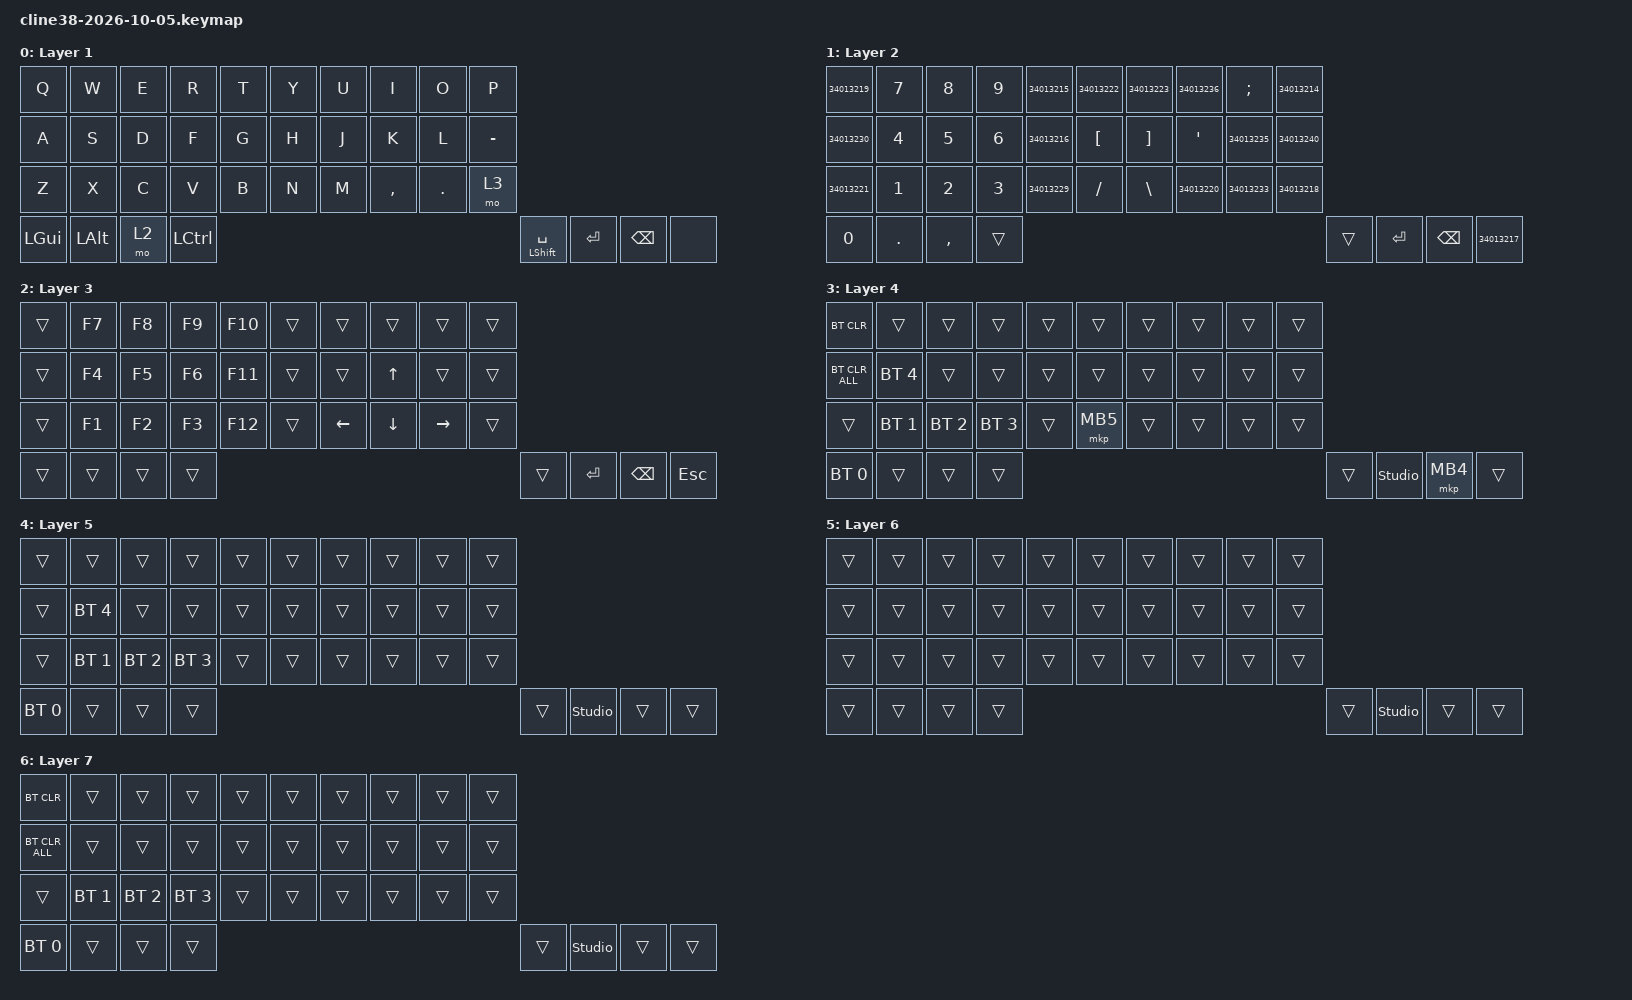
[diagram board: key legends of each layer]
/*
 * Generated by Keyboard Abyss - CLine38 — 2026-10-05 v4
 * https://abyss.keyboard-hub.com/keymap/01M44XJD8V8DJD8X85Y0EG8ZT6
 */

/ {
    keymap {
        compatible = "zmk,keymap";

        layer_1_layer {
            display-name = "Layer 1";
            bindings = <
                &kp Q    &kp W    &kp E    &kp R    &kp T    &kp Y    &kp U    &kp I    &kp O    &kp P
                &kp A    &kp S    &kp D    &kp F    &kp G    &kp H    &kp J    &kp K    &kp L    &kp MINUS
                &kp Z    &kp X    &kp C    &kp V    &kp B    &kp N    &kp M    &kp COMMA    &kp PERIOD    &mo 3
                &kp LEFT_GUI    &kp LEFT_ALT    &mo 2    &kp LEFT_CONTROL    &mt LEFT_SHIFT SPACE    &kp RETURN    &kp BACKSPACE    &none
            >;
        };

        layer_2_layer {
            display-name = "Layer 2";
            bindings = <
                &kp 34013219    &kp N7    &kp N8    &kp N9    &kp 34013215    &kp 34013222    &kp 34013223    &kp 34013236    &kp SEMICOLON    &kp 34013214
                &kp 34013230    &kp N4    &kp N5    &kp N6    &kp 34013216    &kp LEFT_BRACKET    &kp RIGHT_BRACKET    &kp SQT    &kp 34013235    &kp 34013240
                &kp 34013221    &kp N1    &kp N2    &kp N3    &kp 34013229    &kp SLASH    &kp BACKSLASH    &kp 34013220    &kp 34013233    &kp 34013218
                &kp N0    &kp PERIOD    &kp COMMA    &trans    &trans    &kp RETURN    &kp BACKSPACE    &kp 34013217
            >;
        };

        layer_3_layer {
            display-name = "Layer 3";
            bindings = <
                &trans    &kp F7    &kp F8    &kp F9    &kp F10    &trans    &trans    &trans    &trans    &trans
                &trans    &kp F4    &kp F5    &kp F6    &kp F11    &trans    &trans    &kp UP    &trans    &trans
                &trans    &kp F1    &kp F2    &kp F3    &kp F12    &trans    &kp LEFT    &kp DOWN    &kp RIGHT    &trans
                &trans    &trans    &trans    &trans    &trans    &kp RETURN    &kp BACKSPACE    &kp ESCAPE
            >;
        };

        layer_4_layer {
            display-name = "Layer 4";
            bindings = <
                &bt BT_CLR    &trans    &trans    &trans    &trans    &trans    &trans    &trans    &trans    &trans
                &bt BT_CLR_ALL    &bt BT_SEL 4    &trans    &trans    &trans    &trans    &trans    &trans    &trans    &trans
                &trans    &bt BT_SEL 1    &bt BT_SEL 2    &bt BT_SEL 3    &trans    &mkp MB5    &trans    &trans    &trans    &trans
                &bt BT_SEL 0    &trans    &trans    &trans    &trans    &studio_unlock    &mkp MB4    &trans
            >;
        };

        layer_5_layer {
            display-name = "Layer 5";
            bindings = <
                &trans    &trans    &trans    &trans    &trans    &trans    &trans    &trans    &trans    &trans
                &trans    &bt BT_SEL 4    &trans    &trans    &trans    &trans    &trans    &trans    &trans    &trans
                &trans    &bt BT_SEL 1    &bt BT_SEL 2    &bt BT_SEL 3    &trans    &trans    &trans    &trans    &trans    &trans
                &bt BT_SEL 0    &trans    &trans    &trans    &trans    &studio_unlock    &trans    &trans
            >;
        };

        layer_6_layer {
            display-name = "Layer 6";
            bindings = <
                &trans    &trans    &trans    &trans    &trans    &trans    &trans    &trans    &trans    &trans
                &trans    &trans    &trans    &trans    &trans    &trans    &trans    &trans    &trans    &trans
                &trans    &trans    &trans    &trans    &trans    &trans    &trans    &trans    &trans    &trans
                &trans    &trans    &trans    &trans    &trans    &studio_unlock    &trans    &trans
            >;
        };

        layer_7_layer {
            display-name = "Layer 7";
            bindings = <
                &bt BT_CLR    &trans    &trans    &trans    &trans    &trans    &trans    &trans    &trans    &trans
                &bt BT_CLR_ALL    &trans    &trans    &trans    &trans    &trans    &trans    &trans    &trans    &trans
                &trans    &bt BT_SEL 1    &bt BT_SEL 2    &bt BT_SEL 3    &trans    &trans    &trans    &trans    &trans    &trans
                &bt BT_SEL 0    &trans    &trans    &trans    &trans    &studio_unlock    &trans    &trans
            >;
        };
    };
};
